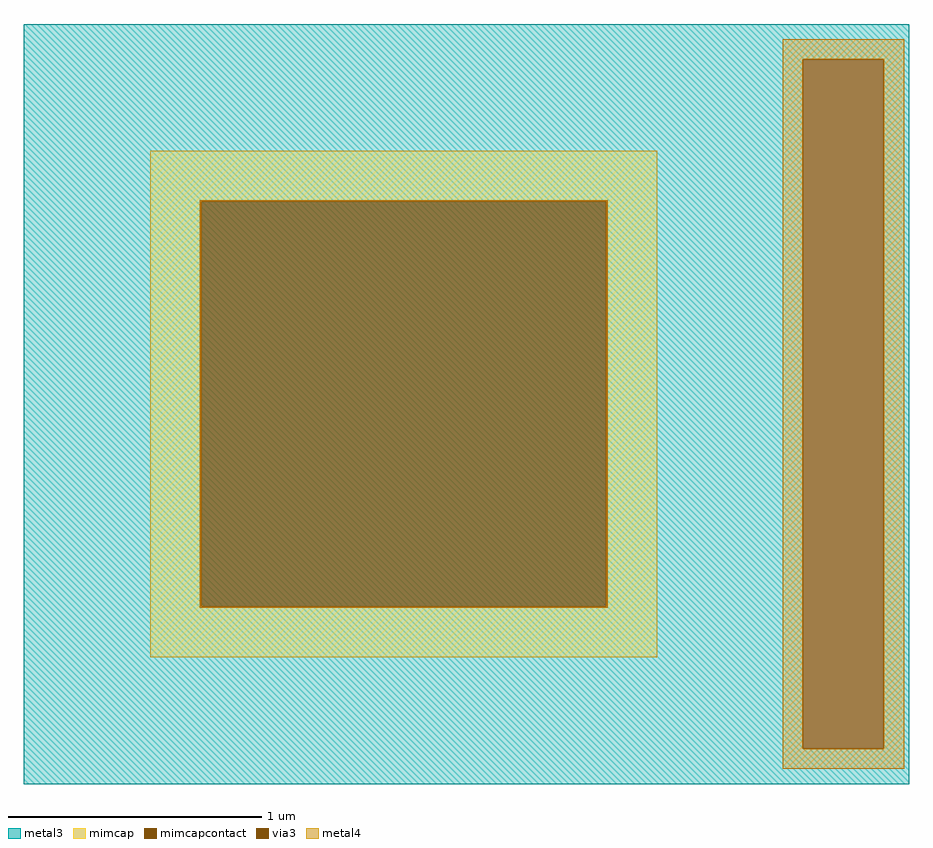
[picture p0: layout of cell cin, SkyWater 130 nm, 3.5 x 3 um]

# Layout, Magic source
magic
tech sky130A
magscale 1 2
<< metal3 >>
rect -350 272 349 300
rect -350 -272 265 272
rect 329 -272 349 272
rect -350 -300 349 -272
<< via3 >>
rect 265 -272 329 272
<< mimcap >>
rect -250 160 150 200
rect -250 -160 -210 160
rect 110 -160 150 160
rect -250 -200 150 -160
<< mimcapcontact >>
rect -210 -160 110 160
<< metal4 >>
rect 249 272 345 288
rect -211 160 111 161
rect -211 -160 -210 160
rect 110 -160 111 160
rect -211 -161 111 -160
rect 249 -272 265 272
rect 329 -272 345 272
rect 249 -288 345 -272
<< properties >>
string FIXED_BBOX -350 -300 250 300
<< end >>
